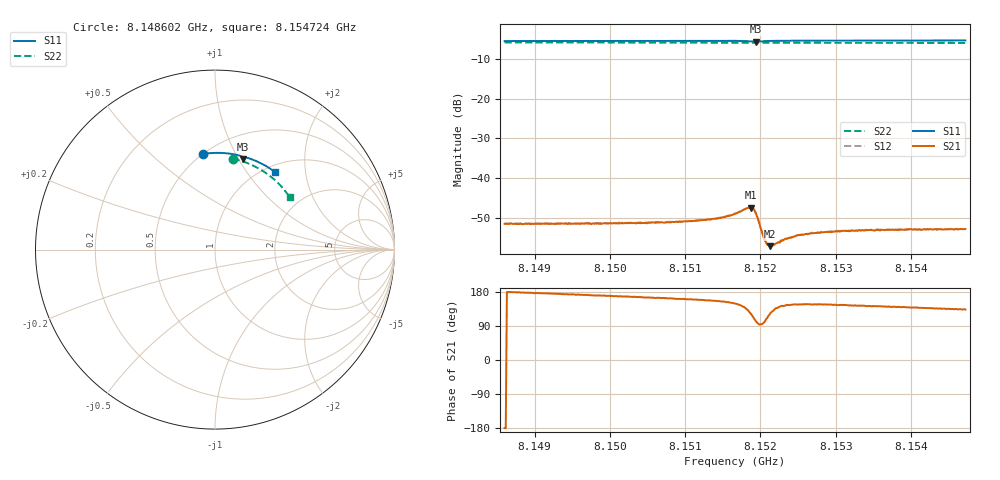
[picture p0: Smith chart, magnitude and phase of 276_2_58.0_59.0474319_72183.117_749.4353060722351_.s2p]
#  HZ  S  RI  R  50.00
! Rohde & Schwarz Vector Network Analyzer
! Rohde-Schwarz,ZNB20-2Port,1311601062101988,3.16
! Created: UTC 3/21/2024, 1:02:41 AM
! freq[Hz]  re:S11  im:S11  re:S21  im:S21  re:S12  im:S12  re:S22  im:S22
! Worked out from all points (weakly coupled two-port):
!   401 points, 8.148602 GHz to 8.154724 GHz, reference 50 ohm
!   highest |S21| = -47.47 dB at 8.151877 GHz (marker M1); lowest = -57.2 dB at 8.152122 GHz (marker M2)
!   lowest |S11| = -5.5 dB at 8.151938 GHz (marker M3), VSWR 3.25, Z = 37.2 + j52.3 ohm
!   |S11| at or under -10 dB: nowhere
!   |S22| runs from -5.9 to -5.7 dB; largest |S21 - S12| = 0.00012
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8.1486025e9  -0.0679 0.5329  -0.00263 -6.69e-06  -0.00268 5.08e-05  0.098 0.5066
8.1496278e9  0.00344 0.5391  -0.00263 0.00037  -0.00264 0.000435  0.1623 0.4887
8.150653e9  0.0748 0.5355  -0.00263 0.000742  -0.00264 0.000814  0.2233 0.4627
8.1513417e9  0.1233 0.5273  -0.00274 0.00118  -0.00274 0.00123  0.2623 0.4407
8.1514947e9  0.1343 0.5245  -0.00286 0.00136  -0.00285 0.00145  0.2706 0.4355
8.151663e9  0.1469 0.5201  -0.00301 0.00181  -0.00304 0.00189  0.2796 0.4294
8.1518161e9  0.1577 0.5122  -0.0029 0.00293  -0.00288 0.00298  0.2875 0.4236
8.1518773e9  0.159 0.5074  -0.00218 0.00363  -0.00213 0.00369  0.2907 0.4214
8.1519079e9  0.158 0.5055  -0.00154 0.00376  -0.00148 0.00383  0.2923 0.4202
8.1519385e9  0.1566 0.5053  -0.000809 0.00349  -0.000753 0.00359  0.2935 0.4191
8.1519691e9  0.1559 0.5068  -0.00033 0.00299  -0.000275 0.00303  0.2951 0.4179
8.1520303e9  0.1583 0.5105  -0.000196 0.00192  -0.000172 0.00196  0.2984 0.4159
8.1520609e9  0.1607 0.5119  -0.000334 0.00158  -0.000318 0.00161  0.2999 0.4148
8.1520915e9  0.1634 0.5125  -0.000512 0.00134  -0.000503 0.0014  0.3015 0.4136
8.1521221e9  0.1662 0.5128  -0.000686 0.00119  -0.00066 0.00123  0.3031 0.4124
8.1521527e9  0.1688 0.5129  -0.00084 0.00111  -0.000868 0.00114  0.3049 0.4114
8.1523058e9  0.1809 0.5108  -0.00129 0.001  -0.00131 0.00102  0.3124 0.4052
8.1524741e9  0.1931 0.5073  -0.00155 0.00102  -0.00154 0.00103  0.3208 0.3983
8.1526883e9  0.2078 0.5023  -0.00167 0.00111  -0.0017 0.00113  0.3312 0.3894
8.1531168e9  0.2357 0.4906  -0.00177 0.00123  -0.00173 0.00125  0.3513 0.3707
8.1537136e9  0.273 0.4719  -0.0017 0.00141  -0.00169 0.00144  0.3772 0.343
8.1547236e9  0.3317 0.4345  -0.00155 0.00165  -0.00153 0.00166  0.416 0.2921
